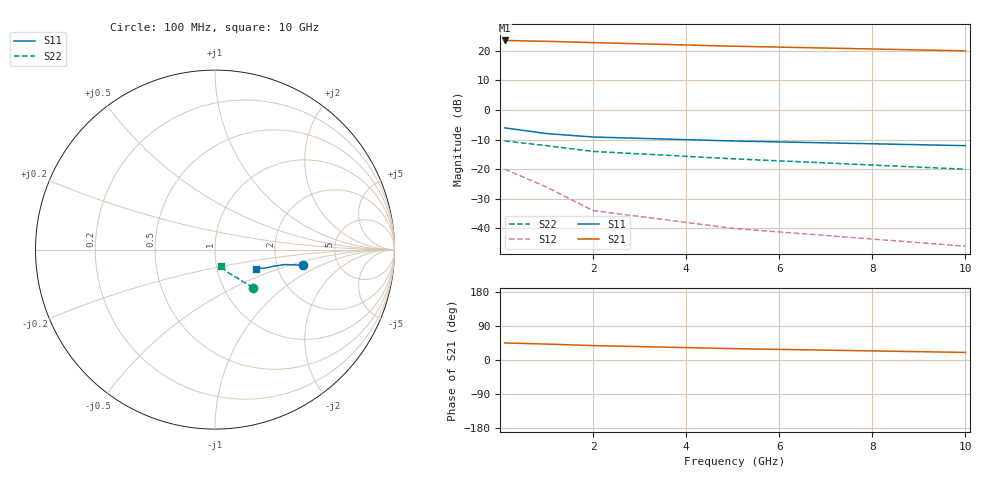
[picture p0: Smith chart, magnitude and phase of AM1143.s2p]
! Placeholder S-parameter file for AM1143
! This is a minimal synthetic file for demonstration purposes only
! Replace with actual AM1143 measurements from vendor
# GHz S MA R 50
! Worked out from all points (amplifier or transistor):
!   5 points, 100 MHz to 10 GHz, reference 50 ohm
!   highest |S21| = 23.5 dB at 100 MHz (marker M1)
!   |S21| within 3 dB of that: start of sweep to 8.352 GHz
!   unconditionally stable (mu >= 1): 1.227 GHz to end of sweep
!   at 100 MHz: K = 0.95, MSG = 21.8 dB, |S12| = -20.0 dB
!   at 2 GHz: K = 1.66, MAG = 23.6 dB, |S12| = -34.0 dB
!   at 10 GHz: K = 9.31, MAG = 20.3 dB, |S12| = -46.0 dB
0.1  0.5 -10.0  15 45.0  0.1 180.0  0.3 -45.0
1  0.4 -12.0  14.5 42.0  0.05 175.0  0.25 -48.0
2  0.35 -15.0  13.8 38.0  0.02 170.0  0.2 -52.0
5  0.3 -20.0  12 30.0  0.01 160.0  0.15 -60.0
10  0.25 -25.0  10 20.0  0.005 150.0  0.1 -70.0
